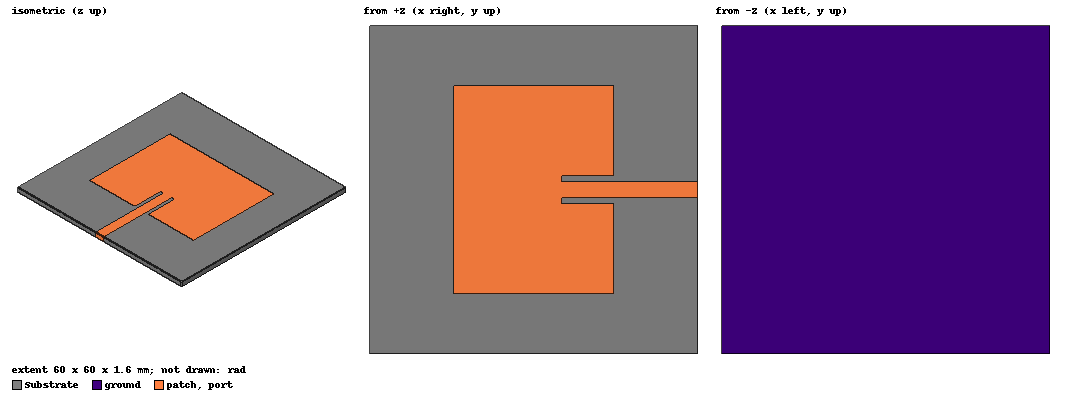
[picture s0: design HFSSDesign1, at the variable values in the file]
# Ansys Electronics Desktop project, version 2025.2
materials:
  vacuum: permittivity=1
  FR4_epoxy: permittivity=4.4 dielectric_loss_tangent=0.02
  air: permittivity=1.0006 permeability=1.0000004

design HFSSDesign1 (HFSS, HFSS Terminal Network, model units mm)
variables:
  h = 1.6mm
  w = 29.4mm
  l = 38mm
  F_L = 3mm
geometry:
  ground = rectangle(corner=(-30mm, -30mm, 0mm), x_size=60mm, y_size=60mm)
  Substrate [FR4_epoxy] = box(corner=(-30mm, -30mm, 0mm), size=(60mm, 60mm, h))
  patch = rectangle(corner=(-w/2, -l/2, h), x_size=w, y_size=l)
  Feed = rectangle(corner=(0mm, -F_L/2, h), x_size=30mm, y_size=F_L)
  Rectangle1 = rectangle(corner=(w/2, -2.5mm, h), x_size=-9.5mm, y_size=5mm)
  patch.subtract(Rectangle1)
  patch.unite(Feed)
  port = rectangle(corner=(30mm, -F_L/2, 0), y_size=F_L, z_size=h)
  rad [air] = box(corner=(-40mm, -40mm, -20mm), size=(80mm, 80mm, 40mm))
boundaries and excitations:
  PerfE1: Perfect E Objects=[ground, patch]
  Rad1: Radiation Objects=rad
  1: Lumped Port Objects=port LumpedPortType=Modal Modes{Mode1{IntLine{(30, 0, 0) -> (30, 0, 1.6)} CharImp=Zpi}} Impedance=50ohm
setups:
  Setup1: HfssDriven Frequency=2.4GHz MaxDeltaS=0.02 MaximumPasses=20 MinimumPasses=1 MinimumConvergedPasses=1 PercentRefinement=30 BasisOrder=1 PortAccuracy=2 DrivenSolverType="Direct Solver"
    sweep Sweep: 1GHz to 3GHz step 0.02GHz; Type=Fast SaveFields
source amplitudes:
  1:1: 1V 0deg
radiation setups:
  Infinite Sphere2: Infinite Sphere Theta=0deg..360deg step 10deg Phi=0deg..0deg step 0deg
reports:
  Terminal S Parameter Plot1: dB(St(1,1)) vs Freq on Setup1 : Sweep; markers m1 at 2.38GHz
  rE Plot1: rETotal vs Theta on Setup1 : LastAdaptive, Infinite Sphere2 [Phi=all Freq=2.4GHz]
